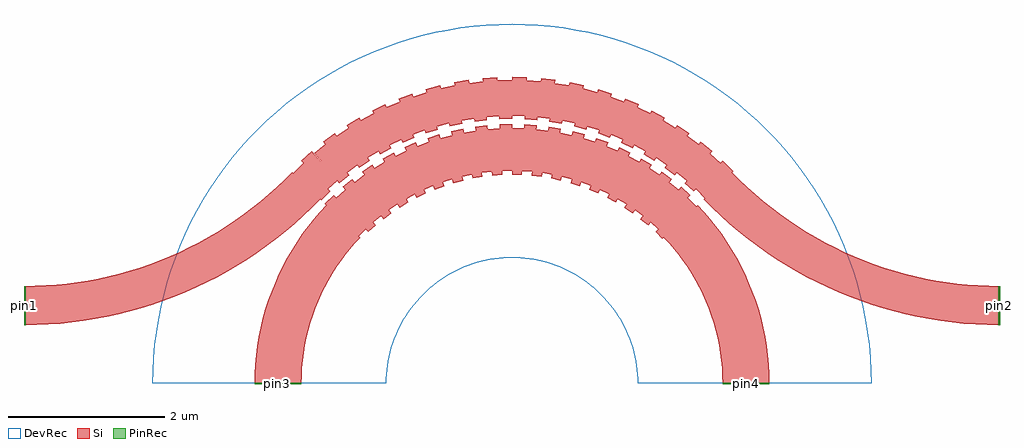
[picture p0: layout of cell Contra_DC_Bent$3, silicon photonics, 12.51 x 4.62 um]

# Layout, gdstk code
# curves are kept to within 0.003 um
import gdstk
lib = gdstk.Library(unit=1e-6, precision=1e-09)
def P(c, l, *ps):  # polygons
    for p in ps: c.add(gdstk.Polygon(p, *l))
Si = (1, 0)
PinRec = (1, 10)
DevRec = (68, 0)

contra_dc_bent_3 = lib.new_cell('Contra_DC_Bent$3')
P(contra_dc_bent_3, Si, [(-1.84,1.942),(-2.252,2.378),(-2.137,2.482),(-1.745,2.027)],
  [(-1.647,2.107),(-2.017,2.58),(-1.892,2.673),(-1.546,2.183)],
  [(-1.441,2.254),(-1.764,2.76),(-1.631,2.84),(-1.332,2.32)],
  [(-1.221,2.38),(-1.495,2.914),(-1.355,2.982),(-1.107,2.435)],
  [(-0.99,2.485),(-1.212,3.042),(-1.067,3.096),(-0.871,2.529)],
  [(-0.75,2.568),(-0.919,3.143),(-0.769,3.183),(-0.628,2.6)],
  [(-0.504,2.627),(-0.617,3.216),(-0.464,3.242),(-0.379,2.648)],
  [(-0.253,2.663),(-0.31,3.26),(-0.155,3.271),(-0.127,2.672)],
  [(0.127,2.672),(0,2.675),(0,3.275),(0.155,3.271)],
  [(0.379,2.648),(0.253,2.663),(0.31,3.26),(0.464,3.242)],
  [(0.628,2.6),(0.504,2.627),(0.617,3.216),(0.769,3.183)],
  [(0.871,2.529),(0.75,2.568),(0.919,3.143),(1.067,3.096)],
  [(1.107,2.435),(0.99,2.485),(1.212,3.042),(1.355,2.982)],
  [(1.332,2.32),(1.221,2.38),(1.495,2.914),(1.631,2.84)],
  [(1.546,2.183),(1.441,2.254),(1.764,2.76),(1.892,2.673)],
  [(1.745,2.027),(1.647,2.107),(2.017,2.58),(2.137,2.482)],
  [(1.929,1.853),(1.84,1.942),(2.252,2.378),(2.362,2.268)],
  [(-1.966,1.887),(-2.398,2.303),(-2.286,2.414),(-1.874,1.978)],
  [(-1.778,2.065),(-2.17,2.52),(-2.048,2.62),(-1.678,2.147)],
  [(-1.575,2.224),(-1.921,2.714),(-1.791,2.802),(-1.468,2.296)],
  [(-1.357,2.363),(-1.656,2.883),(-1.517,2.959),(-1.244,2.425)],
  [(-1.127,2.481),(-1.376,3.027),(-1.231,3.089),(-1.009,2.531)],
  [(-0.888,2.576),(-1.083,3.144),(-0.933,3.191),(-0.764,2.616)],
  [(-0.64,2.649),(-0.781,3.232),(-0.627,3.265),(-0.513,2.676)],
  [(-0.386,2.698),(-0.471,3.291),(-0.315,3.31),(-0.258,2.713)],
  [(-0.129,2.722),(-0.158,3.321),(0,3.325),(0,2.725)],
  [(0.258,2.713),(0.129,2.722),(0.158,3.321),(0.315,3.31)],
  [(0.513,2.676),(0.386,2.698),(0.471,3.291),(0.627,3.265)],
  [(0.764,2.616),(0.64,2.649),(0.781,3.232),(0.933,3.191)],
  [(1.009,2.531),(0.888,2.576),(1.083,3.144),(1.231,3.089)],
  [(1.244,2.425),(1.127,2.481),(1.376,3.027),(1.517,2.959)],
  [(1.468,2.296),(1.357,2.363),(1.656,2.883),(1.791,2.802)],
  [(1.678,2.147),(1.575,2.224),(1.921,2.714),(2.048,2.62)],
  [(1.874,1.978),(1.778,2.065),(2.17,2.52),(2.286,2.414)],
  [(-2.445,2.348),(-2.806,2.694),(-2.675,2.824),(-2.331,2.461)],
  [(-2.212,2.569),(-2.538,2.948),(-2.396,3.065),(-2.088,2.671)],
  [(-1.959,2.767),(-2.248,3.175),(-2.095,3.278),(-1.826,2.856)],
  [(-1.688,2.94),(-1.937,3.373),(-1.775,3.461),(-1.547,3.016)],
  [(-1.402,3.086),(-1.609,3.541),(-1.44,3.614),(-1.255,3.149)],
  [(-1.104,3.205),(-1.267,3.678),(-1.091,3.734),(-0.951,3.254)],
  [(-0.796,3.295),(-0.913,3.781),(-0.733,3.82),(-0.639,3.329)],
  [(-0.48,3.356),(-0.551,3.851),(-0.368,3.873),(-0.321,3.375)],
  [(-0.161,3.386),(-0.184,3.886),(0,3.89),(0,3.39)],
  [(0.321,3.375),(0.161,3.386),(0.184,3.886),(0.368,3.873)],
  [(0.639,3.329),(0.48,3.356),(0.551,3.851),(0.733,3.82)],
  [(0.951,3.254),(0.796,3.295),(0.913,3.781),(1.091,3.734)],
  [(1.255,3.149),(1.104,3.205),(1.267,3.678),(1.44,3.614)],
  [(1.547,3.016),(1.402,3.086),(1.609,3.541),(1.775,3.461)],
  [(1.826,2.856),(1.688,2.94),(1.937,3.373),(2.095,3.278)],
  [(2.088,2.671),(1.959,2.767),(2.248,3.175),(2.396,3.065)],
  [(2.331,2.461),(2.212,2.569),(2.538,2.948),(2.675,2.824)],
  [(-2.359,2.49),(-2.703,2.853),(-2.564,2.978),(-2.238,2.599)],
  [(-2.112,2.702),(-2.42,3.096),(-2.271,3.207),(-1.982,2.799)],
  [(-1.847,2.89),(-2.116,3.311),(-1.957,3.408),(-1.708,2.974)],
  [(-1.565,3.052),(-1.794,3.497),(-1.626,3.578),(-1.419,3.123)],
  [(-1.27,3.186),(-1.455,3.651),(-1.28,3.716),(-1.117,3.243)],
  [(-0.962,3.292),(-1.103,3.772),(-0.923,3.82),(-0.805,3.334)],
  [(-0.646,3.369),(-0.741,3.86),(-0.557,3.89),(-0.486,3.395)],
  [(-0.325,3.415),(-0.372,3.912),(-0.186,3.926),(-0.162,3.426)],
  [(0.162,3.426),(0,3.43),(0,3.93),(0.186,3.926)],
  [(0.486,3.395),(0.325,3.415),(0.372,3.912),(0.557,3.89)],
  [(0.805,3.334),(0.646,3.369),(0.741,3.86),(0.923,3.82)],
  [(1.117,3.243),(0.962,3.292),(1.103,3.772),(1.28,3.716)],
  [(1.419,3.123),(1.27,3.186),(1.455,3.651),(1.626,3.578)],
  [(1.708,2.974),(1.565,3.052),(1.794,3.497),(1.957,3.408)],
  [(1.982,2.799),(1.847,2.89),(2.116,3.311),(2.271,3.207)],
  [(2.238,2.599),(2.112,2.702),(2.42,3.096),(2.564,2.978)],
  [(2.474,2.376),(2.359,2.49),(2.703,2.853),(2.835,2.722)],
  [(-3.3,0),(-3.298,0.12),(-3.28,0.36),(-3.245,0.598),(-3.193,0.833),(-3.161,0.948),(-3.083,1.176),(-2.99,1.397),(-2.937,1.505),(-2.88,1.611),(-2.755,1.817),(-2.687,1.916),(-2.54,2.106),(-2.38,2.286),(-1.947,1.87),(-2.014,1.798),(-2.14,1.647),(-2.254,1.486),(-2.307,1.403),(-2.403,1.232),(-2.446,1.143),(-2.523,0.962),(-2.556,0.87),(-2.613,0.681),(-2.655,0.489),(-2.684,0.295),(-2.693,0.197),(-2.7,0)],
  [(2.7,0),(2.693,0.197),(2.684,0.295),(2.655,0.489),(2.613,0.681),(2.556,0.87),(2.523,0.962),(2.486,1.053),(2.403,1.232),(2.307,1.403),(2.254,1.486),(2.14,1.647),(2.014,1.798),(1.947,1.87),(2.38,2.286),(2.54,2.106),(2.687,1.916),(2.755,1.817),(2.88,1.611),(2.99,1.397),(3.083,1.176),(3.161,0.948),(3.221,0.716),(3.265,0.479),(3.291,0.24),(3.3,0)],
  [(6.246,0.748),(5.944,0.757),(5.643,0.783),(5.494,0.802),(5.196,0.854),(4.902,0.923),(4.612,1.009),(4.469,1.058),(4.188,1.168),(3.914,1.295),(3.647,1.437),(3.517,1.513),(3.264,1.678),(3.141,1.765),(2.902,1.951),(2.675,2.15),(2.46,2.362),(2.82,2.708),(2.916,2.611),(3.117,2.425),(3.327,2.251),(3.548,2.089),(3.777,1.941),(4.014,1.805),(4.259,1.684),(4.384,1.628),(4.639,1.529),(4.898,1.443),(5.163,1.373),(5.296,1.344),(5.565,1.297),(5.837,1.266),(5.973,1.256),(6.246,1.248)],
  [(-6.246,0.748),(-6.246,1.248),(-5.973,1.256),(-5.837,1.266),(-5.565,1.297),(-5.296,1.344),(-5.163,1.373),(-4.898,1.443),(-4.639,1.529),(-4.384,1.628),(-4.259,1.684),(-4.014,1.805),(-3.777,1.941),(-3.548,2.089),(-3.327,2.251),(-3.117,2.425),(-2.916,2.611),(-2.82,2.708),(-2.46,2.362),(-2.675,2.15),(-2.902,1.951),(-3.141,1.765),(-3.264,1.678),(-3.517,1.513),(-3.647,1.437),(-3.914,1.295),(-4.188,1.168),(-4.469,1.058),(-4.612,1.009),(-4.902,0.923),(-5.196,0.854),(-5.494,0.802),(-5.643,0.783),(-5.944,0.757)])
P(contra_dc_bent_3, DevRec, [(-4.61,0),(-4.607,0.165),(-4.584,0.493),(-4.537,0.819),(-4.505,0.98),(-4.467,1.14),(-4.374,1.456),(-4.259,1.764),(-4.122,2.064),(-4.046,2.209),(-3.965,2.352),(-3.787,2.629),(-3.59,2.893),(-3.484,3.019),(-3.26,3.26),(-3.019,3.484),(-2.893,3.59),(-2.629,3.787),(-2.352,3.965),(-2.209,4.046),(-2.064,4.122),(-1.764,4.259),(-1.456,4.374),(-1.14,4.467),(-0.98,4.505),(-0.819,4.537),(-0.493,4.584),(-0.165,4.607),(0,4.61),(0.165,4.607),(0.493,4.584),(0.819,4.537),(0.98,4.505),(1.14,4.467),(1.456,4.374),(1.764,4.259),(2.064,4.122),(2.209,4.046),(2.352,3.965),(2.629,3.787),(2.893,3.59),(3.019,3.484),(3.26,3.26),(3.484,3.019),(3.59,2.893),(3.787,2.629),(3.965,2.352),(4.046,2.209),(4.122,2.064),(4.259,1.764),(4.374,1.456),(4.467,1.14),(4.505,0.98),(4.537,0.819),(4.584,0.493),(4.607,0.165),(4.61,0),(1.61,0),(1.601,0.172),(1.573,0.342),(1.545,0.454),(1.487,0.616),(1.413,0.772),(1.322,0.918),(1.254,1.01),(1.138,1.138),(1.01,1.254),(0.918,1.322),(0.772,1.413),(0.616,1.487),(0.454,1.545),(0.342,1.573),(0.172,1.601),(0,1.61),(-0.172,1.601),(-0.342,1.573),(-0.454,1.545),(-0.616,1.487),(-0.772,1.413),(-0.918,1.322),(-1.01,1.254),(-1.138,1.138),(-1.254,1.01),(-1.322,0.918),(-1.413,0.772),(-1.487,0.616),(-1.545,0.454),(-1.573,0.342),(-1.601,0.172),(-1.61,0)])
contra_dc_bent_3.add(gdstk.FlexPath([(6.236,0.998),(6.256,0.998)], 0.5, ends="flush", simple_path=True, layer=1, datatype=10))  # PinRec
contra_dc_bent_3.add(gdstk.FlexPath([(-6.236,0.998),(-6.256,0.998)], 0.5, ends="flush", simple_path=True, layer=1, datatype=10))  # PinRec
contra_dc_bent_3.add(gdstk.FlexPath([(-3,0.01),(-3,-0.01)], 0.6, ends="flush", simple_path=True, layer=1, datatype=10))  # PinRec
contra_dc_bent_3.add(gdstk.FlexPath([(3,0.01),(3,-0.01)], 0.6, ends="flush", simple_path=True, layer=1, datatype=10))  # PinRec
contra_dc_bent_3.add(gdstk.Label('pin2', (6.246,0.998), layer=1, texttype=10))
contra_dc_bent_3.add(gdstk.Label('pin1', (-6.246,0.998), layer=1, texttype=10))
contra_dc_bent_3.add(gdstk.Label('pin3', (-3,0), layer=1, texttype=10))
contra_dc_bent_3.add(gdstk.Label('pin4', (3,0), layer=1, texttype=10))

lib.write_gds('Contra_DC_Bent_3.gds')
